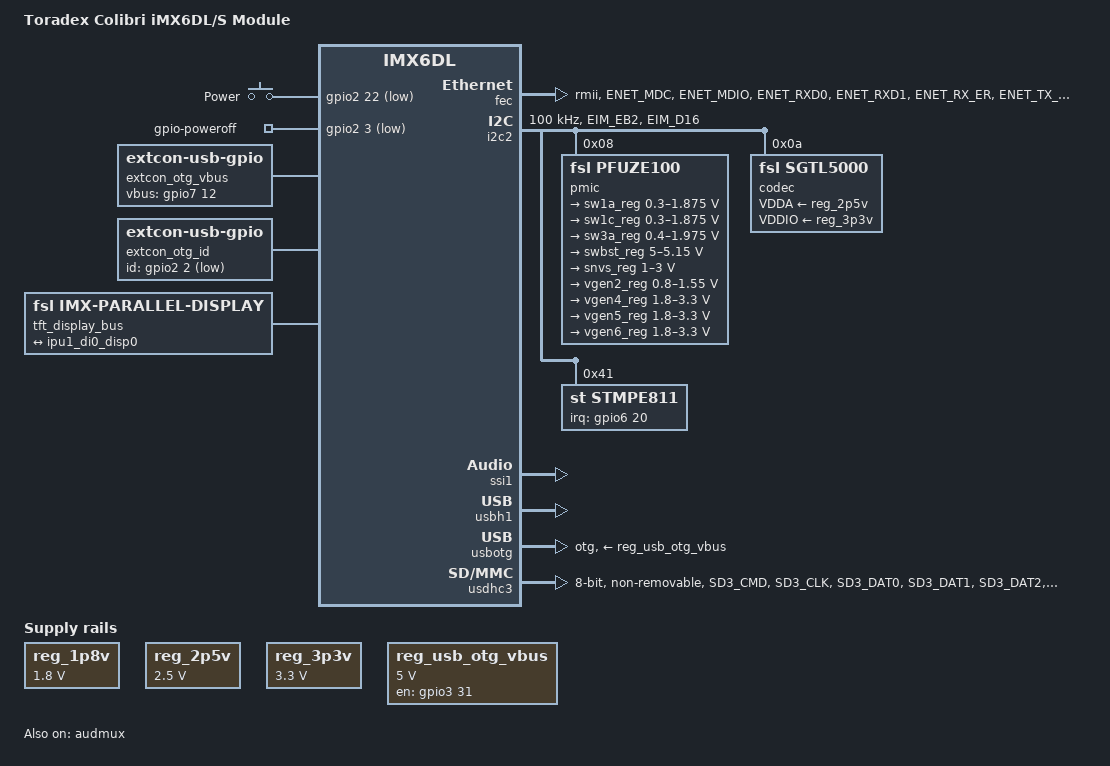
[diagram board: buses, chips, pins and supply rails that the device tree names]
/*
 * Copyright 2017-2019 Radioavionica Corp
 * Copyright 2014-2016 Toradex AG
 * Copyright 2012 Freescale Semiconductor, Inc.
 * Copyright 2011 Linaro Ltd.
 *
 * This file is dual-licensed: you can use it either under the terms
 * of the GPL or the X11 license, at your option. Note that this dual
 * licensing only applies to this file, and not this project as a
 * whole.
 *
 *  a) This file is free software; you can redistribute it and/or
 *     modify it under the terms of the GNU General Public License
 *     version 2 as published by the Free Software Foundation.
 *
 *     This file is distributed in the hope that it will be useful,
 *     but WITHOUT ANY WARRANTY; without even the implied warranty of
 *     MERCHANTABILITY or FITNESS FOR A PARTICULAR PURPOSE.  See the
 *     GNU General Public License for more details.
 *
 * Or, alternatively,
 *
 *  b) Permission is hereby granted, free of charge, to any person
 *     obtaining a copy of this software and associated documentation
 *     files (the "Software"), to deal in the Software without
 *     restriction, including without limitation the rights to use,
 *     copy, modify, merge, publish, distribute, sublicense, and/or
 *     sell copies of the Software, and to permit persons to whom the
 *     Software is furnished to do so, subject to the following
 *     conditions:
 *
 *     The above copyright notice and this permission notice shall be
 *     included in all copies or substantial portions of the Software.
 *
 *     THE SOFTWARE IS PROVIDED "AS IS", WITHOUT WARRANTY OF ANY KIND,
 *     EXPRESS OR IMPLIED, INCLUDING BUT NOT LIMITED TO THE WARRANTIES
 *     OF MERCHANTABILITY, FITNESS FOR A PARTICULAR PURPOSE AND
 *     NONINFRINGEMENT. IN NO EVENT SHALL THE AUTHORS OR COPYRIGHT
 *     HOLDERS BE LIABLE FOR ANY CLAIM, DAMAGES OR OTHER LIABILITY,
 *     WHETHER IN AN ACTION OF CONTRACT, TORT OR OTHERWISE, ARISING
 *     FROM, OUT OF OR IN CONNECTION WITH THE SOFTWARE OR THE USE OR
 *     OTHER DEALINGS IN THE SOFTWARE.
 */

#include <dt-bindings/gpio/gpio.h>

/ {
	model = "Toradex Colibri iMX6DL/S Module";
	compatible = "toradex,colibri_imx6dl", "fsl,imx6dl";

	/*
	 * All ravion board have power key on soDimm pin 45
	 */
	gpio-keys {
		compatible = "gpio-keys";
		pinctrl-names = "default";
		pinctrl-0 = <&pinctrl_gpio_keys>;

		power {
			label = "Power";
			gpios = <&gpio2 22 GPIO_ACTIVE_LOW>; /* SODIMM 45 */
			linux,code = <KEY_POWER>;
			debounce-interval = <100>;
			wakeup-source;
		};
	};

	/*
	 * All ravion board have power-off output on soDimm pin 133
	 */
	gpio-poweroff {
		pinctrl-names = "default";
		pinctrl-0 = <&pinctrl_gpio_poweroff>;
		compatible = "gpio-poweroff";
		gpios = <&gpio2 3 GPIO_ACTIVE_LOW>;	/* SODIMM 133 */
	};

	/*
	 * All ravion board have non-standart USB OTG control pins
	 */

	extcon_otg_vbus: pin_otg_vbus {
		pinctrl-names = "default";
		pinctrl-0 = <&pinctrl_extcon_otg_vbus>;
		compatible = "linux,extcon-usb-gpio";
		vbus-gpio = <&gpio7 12 GPIO_ACTIVE_HIGH>; /* SODIMM 137 */
	};

	extcon_otg_id: pin_otg_id {
		pinctrl-names = "default";
		pinctrl-0 = <&pinctrl_extcon_otg_id>;
		compatible = "linux,extcon-usb-gpio";
		id-gpio = <&gpio2 2 GPIO_ACTIVE_LOW>; /* SODIMM 135 */
	};

	reg_1p8v: regulator-1p8v {
		compatible = "regulator-fixed";
		regulator-name = "1P8V";
		regulator-min-microvolt = <1800000>;
		regulator-max-microvolt = <1800000>;
		regulator-always-on;
	};

	reg_2p5v: regulator-2p5v {
		compatible = "regulator-fixed";
		regulator-name = "2P5V";
		regulator-min-microvolt = <2500000>;
		regulator-max-microvolt = <2500000>;
		regulator-always-on;
	};

	reg_3p3v: regulator-3p3v {
		compatible = "regulator-fixed";
		regulator-name = "3P3V";
		regulator-min-microvolt = <3300000>;
		regulator-max-microvolt = <3300000>;
		regulator-always-on;
	};

	reg_usb_otg_vbus: regulator-usb-otg-vbus {
		compatible = "regulator-fixed";
		pinctrl-names = "default";
		pinctrl-0 = <&pinctrl_regulator_usb_otg_pwr>;
		regulator-name = "usb_otg_vbus";
		regulator-min-microvolt = <5000000>;
		regulator-max-microvolt = <5000000>;
		enable-active-high;
		gpio = <&gpio3 31 0>; /* USBO_PEN : SODIMM 129 */
	};

	tft_display_bus: disp0@di0 {
		compatible = "fsl,imx-parallel-display";
		interface-pix-fmt = "rgb24";
		pinctrl-names = "default";
		pinctrl-0 = <&pinctrl_ipu1_lcdif>;

		port@0 {
			lcd_display_in: endpoint {
				remote-endpoint = <&ipu1_di0_disp0>;
			};
		};

		port@1 {
			tft_display_bus_out: endpoint {
			};
		};
	};

	sound {
		compatible = "fsl,imx-audio-sgtl5000";
		model = "imx6dl-colibri-sgtl5000";
		ssi-controller = <&ssi1>;
		audio-codec = <&codec>;
		audio-routing =
			"Headphone Jack", "HP_OUT",
			"LINE_IN", "Line In Jack",
			"MIC_IN", "Mic Jack",
			"Mic Jack", "Mic Bias";
		mux-int-port = <1>;
		mux-ext-port = <5>;
	};
};

&ipu1_di0_disp0 {
	remote-endpoint = <&lcd_display_in>;
};

&audmux {
	pinctrl-names = "default";
	pinctrl-0 = <&pinctrl_audmux &pinctrl_mic_gnd>;
	status = "okay";
};

/* Colibri SSP */
&ecspi4 {
	cs-gpios = <&gpio5 2 GPIO_ACTIVE_HIGH>;
	pinctrl-names = "default";
	pinctrl-0 = <&pinctrl_ecspi4>;
	status = "disabled";
};

&fec {
	pinctrl-names = "default";
	pinctrl-0 = <&pinctrl_enet>;
	phy-mode = "rmii";
	status = "okay";
};

&hdmi {
	pinctrl-names = "default";
	pinctrl-0 = <&pinctrl_hdmi_ddc>;
	status = "disabled";
};

/*
 * PWR_I2C: power I2C to audio codec, PMIC, temperature sensor and
 * touch screen controller
 */
&i2c2 {
	clock-frequency = <100000>;
	pinctrl-names = "default";
	pinctrl-0 = <&pinctrl_i2c2>;
	status = "okay";

	pmic: pfuze100@08 {
		compatible = "fsl,pfuze100";
		reg = <0x08>;

		regulators {
			sw1a_reg: sw1ab {
				regulator-min-microvolt = <300000>;
				regulator-max-microvolt = <1875000>;
				regulator-boot-on;
				regulator-always-on;
				regulator-ramp-delay = <6250>;
			};

			sw1c_reg: sw1c {
				regulator-min-microvolt = <300000>;
				regulator-max-microvolt = <1875000>;
				regulator-boot-on;
				regulator-always-on;
				regulator-ramp-delay = <6250>;
			};

			sw3a_reg: sw3a {
				regulator-min-microvolt = <400000>;
				regulator-max-microvolt = <1975000>;
				regulator-boot-on;
				regulator-always-on;
			};

			swbst_reg: swbst {
				regulator-min-microvolt = <5000000>;
				regulator-max-microvolt = <5150000>;
				regulator-boot-on;
				regulator-always-on;
			};

			snvs_reg: vsnvs {
				regulator-min-microvolt = <1000000>;
				regulator-max-microvolt = <3000000>;
				regulator-boot-on;
				regulator-always-on;
			};

			vref_reg: vrefddr {
				regulator-boot-on;
				regulator-always-on;
			};

			/* vgen1: unused */

			vgen2_reg: vgen2 {
				regulator-min-microvolt = <800000>;
				regulator-max-microvolt = <1550000>;
				regulator-boot-on;
				regulator-always-on;
			};

			/* vgen3: unused */

			vgen4_reg: vgen4 {
				regulator-min-microvolt = <1800000>;
				regulator-max-microvolt = <3300000>;
				regulator-boot-on;
				regulator-always-on;
			};

			vgen5_reg: vgen5 {
				regulator-min-microvolt = <1800000>;
				regulator-max-microvolt = <3300000>;
				regulator-boot-on;
				regulator-always-on;
			};

			vgen6_reg: vgen6 {
				regulator-min-microvolt = <1800000>;
				regulator-max-microvolt = <3300000>;
				regulator-boot-on;
				regulator-always-on;
			};
		};
	};


	codec: sgtl5000@0a {
		compatible = "fsl,sgtl5000";
		reg = <0x0a>;
		clocks = <&clks IMX6QDL_CLK_CKO>;
		VDDA-supply = <&reg_2p5v>;
		VDDIO-supply = <&reg_3p3v>;
		lrclk-strength = <3>;
	};

	/* STMPE811 touch screen controller */
	stmpe811@41 {
		compatible = "st,stmpe811";
		pinctrl-names = "default";
		pinctrl-0 = <&pinctrl_touch_int>;
		#address-cells = <1>;
		#size-cells = <0>;
		reg = <0x41>;
		interrupts = <20 IRQ_TYPE_LEVEL_LOW>;
		interrupt-parent = <&gpio6>;
		interrupt-controller;
		id = <0>;
		blocks = <0x5>;
		irq-trigger = <0x1>;
		status = "okay";

		stmpe_touchscreen {
			compatible = "st,stmpe-ts";
			reg = <0>;
			/* 3.25 MHz ADC clock speed */
			st,adc-freq = <1>;
			/* 8 sample average control */
			st,ave-ctrl = <3>;
			/* 7 length fractional part in z */
			st,fraction-z = <7>;
			/*
			 * 50 mA typical 80 mA max touchscreen drivers
			 * current limit value
			 */
			st,i-drive = <1>;
			/* 12-bit ADC */
			st,mod-12b = <1>;
			/* internal ADC reference */
			st,ref-sel = <0>;
			/* ADC converstion time: 80 clocks */
			st,sample-time = <4>;
			/* 1 ms panel driver settling time */
			st,settling = <3>;
			/* 5 ms touch detect interrupt delay */
			st,touch-det-delay = <5>;
		};
	};
};



/*
 * I2C3_SDA/SCL on SODIMM 194/196 (e.g. RTC on carrier board)
 */
&i2c3 {
	clock-frequency = <100000>;
	pinctrl-names = "default", "recovery";
	pinctrl-0 = <&pinctrl_i2c3>;
	pinctrl-1 = <&pinctrl_i2c3_recovery>;
	scl-gpios = <&gpio1 3 GPIO_ACTIVE_HIGH>;
	sda-gpios = <&gpio1 6 GPIO_ACTIVE_HIGH>;
	status = "disabled";
};

/* Colibri PWM<B> */
&pwm1 {
	pinctrl-names = "default";
	pinctrl-0 = <&pinctrl_pwm1>;
	status = "disabled";
};

/* Colibri PWM<D> */
&pwm2 {
	pinctrl-names = "default";
	pinctrl-0 = <&pinctrl_pwm2>;
	status = "disabled";
};

/* Colibri PWM<A> */
&pwm3 {
	pinctrl-names = "default";
	pinctrl-0 = <&pinctrl_pwm3>;
	status = "disabled";
};

/* Colibri PWM<C> */
&pwm4 {
	pinctrl-names = "default";
	pinctrl-0 = <&pinctrl_pwm4>;
	status = "disabled";
};

&ssi1 {
	status = "okay";
};

/* Colibri UART_A */
&uart1 {
	pinctrl-names = "default";
	pinctrl-0 = <&pinctrl_uart1_dte &pinctrl_uart1_ctrl>;
	fsl,dte-mode;
	uart-has-rtscts;
	status = "disabled";
};

/* Colibri UART_B */
&uart2 {
	pinctrl-names = "default";
	pinctrl-0 = <&pinctrl_uart2_dte>;
	fsl,dte-mode;
	uart-has-rtscts;
	status = "disabled";
};

/* Colibri UART_C */
&uart3 {
	pinctrl-names = "default";
	pinctrl-0 = <&pinctrl_uart3_dte>;
	fsl,dte-mode;
	status = "disabled";
};

/*
 * USB Host - allways enabled on ravion boaards
 */
&usbh1 {
	disable-over-current;
	status = "okay";
};

/*
 * USB Host/Device switcahble (OTG)
 */
&usbotg {
	vbus-supply = <&reg_usb_otg_vbus>;
	disable-over-current;
	/*
	 * FixMe:
	 * Unstable  working on swith from HOST to DEVICE
	 * May be voltage on VBUS drop to slow???
	 */
	dr_mode = "otg";
	extcon = <&extcon_otg_vbus>,
		 <&extcon_otg_id>;
	status = "okay";
};

/* Colibri MMC */
&usdhc1 {
	pinctrl-names = "default";
	pinctrl-0 = <&pinctrl_usdhc1>;
	vqmmc-supply = <&reg_3p3v>;
	bus-width = <4>;
	voltage-ranges = <3300 3300>;
	status = "disabled";
};

/* eMMC */
&usdhc3 {
	pinctrl-names = "default";
	pinctrl-0 = <&pinctrl_usdhc3>;
	vqmmc-supply = <&reg_3p3v>;
	bus-width = <8>;
	voltage-ranges = <3300 3300>;
	non-removable;
	status = "okay";
};

&iomuxc {
	pinctrl_gpio_poweroff: gpio-poweroff {
		fsl,pins = <MX6QDL_PAD_NANDF_D3__GPIO2_IO03 0x0f058>; /* PU_22K */
	};

	pinctrl_gpio_keys: gpiokeys {
		fsl,pins = <
			/* Power button */
			MX6QDL_PAD_EIM_A16__GPIO2_IO22		0x1b0b0
		>;
	};

	pinctrl_extcon_otg_vbus: gpiootgvbus {
		fsl,pins = <
			MX6QDL_PAD_GPIO_17__GPIO7_IO12	0x1b0b0 /* soDimm 137 */
		>;
	};

	pinctrl_extcon_otg_id: gpiootgid {
		fsl,pins = <
			MX6QDL_PAD_NANDF_D2__GPIO2_IO02	0x1b0b0 /* soDimm 135 */
		>;
	};

	pinctrl_audmux: audmuxgrp {
		fsl,pins = <
			MX6QDL_PAD_KEY_COL0__AUD5_TXC	0x130b0
			MX6QDL_PAD_KEY_ROW0__AUD5_TXD	0x130b0
			MX6QDL_PAD_KEY_COL1__AUD5_TXFS	0x130b0
			MX6QDL_PAD_KEY_ROW1__AUD5_RXD	0x130b0
			/* SGTL5000 sys_mclk */
			MX6QDL_PAD_GPIO_0__CCM_CLKO1	0x000b0
		>;
	};

	pinctrl_cam_mclk: cammclkgrp {
		fsl,pins = <
			/* Parallel Camera CAM sys_mclk */
			MX6QDL_PAD_NANDF_CS2__CCM_CLKO2	0x00b0
		>;
	};

	pinctrl_ecspi4: ecspi4grp {
		fsl,pins = <
			MX6QDL_PAD_EIM_D22__ECSPI4_MISO	0x100b1
			MX6QDL_PAD_EIM_D28__ECSPI4_MOSI	0x100b1
			MX6QDL_PAD_EIM_D21__ECSPI4_SCLK 0x100b1
			/* SPI CS */
			MX6QDL_PAD_EIM_A25__GPIO5_IO02	0x000b1
		>;
	};

	pinctrl_enet: enetgrp {
		fsl,pins = <
			MX6QDL_PAD_ENET_MDC__ENET_MDC		0x1b0b0
			MX6QDL_PAD_ENET_MDIO__ENET_MDIO		0x1b0b0
			MX6QDL_PAD_ENET_RXD0__ENET_RX_DATA0	0x1b0b0
			MX6QDL_PAD_ENET_RXD1__ENET_RX_DATA1	0x1b0b0
			MX6QDL_PAD_ENET_RX_ER__ENET_RX_ER	0x1b0b0
			MX6QDL_PAD_ENET_TX_EN__ENET_TX_EN	0x1b0b0
			MX6QDL_PAD_ENET_TXD0__ENET_TX_DATA0	0x1b0b0
			MX6QDL_PAD_ENET_TXD1__ENET_TX_DATA1	0x1b0b0
			MX6QDL_PAD_ENET_CRS_DV__ENET_RX_EN	0x1b0b0
			MX6QDL_PAD_GPIO_16__ENET_REF_CLK     ((1<<30) | 0x1b0b0)
		>;
	};

	pinctrl_hdmi_ddc: hdmiddcgrp {
		fsl,pins = <
			MX6QDL_PAD_KEY_COL3__HDMI_TX_DDC_SCL 0x4001b8b1
			MX6QDL_PAD_KEY_ROW3__HDMI_TX_DDC_SDA 0x4001b8b1
		>;
	};

	pinctrl_i2c2: i2c2grp {
		fsl,pins = <
			MX6QDL_PAD_EIM_EB2__I2C2_SCL 0x4001b8b1
			MX6QDL_PAD_EIM_D16__I2C2_SDA 0x4001b8b1
		>;
	};

	pinctrl_i2c3: i2c3grp {
		fsl,pins = <
			MX6QDL_PAD_GPIO_3__I2C3_SCL 0x4001b8b1
			MX6QDL_PAD_GPIO_6__I2C3_SDA 0x4001b8b1
		>;
	};

	pinctrl_i2c3_recovery: i2c3recoverygrp {
		fsl,pins = <
			MX6QDL_PAD_GPIO_3__GPIO1_IO03 0x4001b8b1
			MX6QDL_PAD_GPIO_6__GPIO1_IO06 0x4001b8b1
		>;
	};

	pinctrl_ipu1_csi1: ipu1csi1grp { /* Parallel Camera */
		fsl,pins = <
			MX6QDL_PAD_EIM_A17__IPU1_CSI1_DATA12	0xb0b1
			MX6QDL_PAD_EIM_A18__IPU1_CSI1_DATA13	0xb0b1
			MX6QDL_PAD_EIM_A19__IPU1_CSI1_DATA14	0xb0b1
			MX6QDL_PAD_EIM_A20__IPU1_CSI1_DATA15	0xb0b1
			MX6QDL_PAD_EIM_A21__IPU1_CSI1_DATA16	0xb0b1
			MX6QDL_PAD_EIM_A22__IPU1_CSI1_DATA17	0xb0b1
			MX6QDL_PAD_EIM_A23__IPU1_CSI1_DATA18	0xb0b1
			MX6QDL_PAD_EIM_A24__IPU1_CSI1_DATA19	0xb0b1
			MX6QDL_PAD_EIM_D17__IPU1_CSI1_PIXCLK	0xb0b1
			MX6QDL_PAD_EIM_EB3__IPU1_CSI1_HSYNC	0xb0b1
			MX6QDL_PAD_EIM_D29__IPU1_CSI1_VSYNC	0xb0b1
			/* Disable PWM pins on camera interface */
			MX6QDL_PAD_SD4_DAT1__GPIO2_IO09		0x40
			MX6QDL_PAD_GPIO_1__GPIO1_IO01		0x40
		>;
	};

	pinctrl_ipu1_lcdif: ipu1lcdifgrp {
		fsl,pins = <
			MX6QDL_PAD_DI0_DISP_CLK__IPU1_DI0_DISP_CLK	0xa1
			MX6QDL_PAD_DI0_PIN15__IPU1_DI0_PIN15		0xa1
			MX6QDL_PAD_DI0_PIN2__IPU1_DI0_PIN02		0xa1
			MX6QDL_PAD_DI0_PIN3__IPU1_DI0_PIN03		0xa1
			MX6QDL_PAD_DISP0_DAT0__IPU1_DISP0_DATA00	0xa1
			MX6QDL_PAD_DISP0_DAT1__IPU1_DISP0_DATA01	0xa1
			MX6QDL_PAD_DISP0_DAT2__IPU1_DISP0_DATA02	0xa1
			MX6QDL_PAD_DISP0_DAT3__IPU1_DISP0_DATA03	0xa1
			MX6QDL_PAD_DISP0_DAT4__IPU1_DISP0_DATA04	0xa1
			MX6QDL_PAD_DISP0_DAT5__IPU1_DISP0_DATA05	0xa1
			MX6QDL_PAD_DISP0_DAT6__IPU1_DISP0_DATA06	0xa1
			MX6QDL_PAD_DISP0_DAT7__IPU1_DISP0_DATA07	0xa1
			MX6QDL_PAD_DISP0_DAT8__IPU1_DISP0_DATA08	0xa1
			MX6QDL_PAD_DISP0_DAT9__IPU1_DISP0_DATA09	0xa1
			MX6QDL_PAD_DISP0_DAT10__IPU1_DISP0_DATA10	0xa1
			MX6QDL_PAD_DISP0_DAT11__IPU1_DISP0_DATA11	0xa1
			MX6QDL_PAD_DISP0_DAT12__IPU1_DISP0_DATA12	0xa1
			MX6QDL_PAD_DISP0_DAT13__IPU1_DISP0_DATA13	0xa1
			MX6QDL_PAD_DISP0_DAT14__IPU1_DISP0_DATA14	0xa1
			MX6QDL_PAD_DISP0_DAT15__IPU1_DISP0_DATA15	0xa1
			MX6QDL_PAD_DISP0_DAT16__IPU1_DISP0_DATA16	0xa1
			MX6QDL_PAD_DISP0_DAT17__IPU1_DISP0_DATA17	0xa1
			MX6QDL_PAD_DISP0_DAT18__IPU1_DISP0_DATA18	0xa1
			MX6QDL_PAD_DISP0_DAT19__IPU1_DISP0_DATA19	0xa1
			MX6QDL_PAD_DISP0_DAT20__IPU1_DISP0_DATA20	0xa1
			MX6QDL_PAD_DISP0_DAT21__IPU1_DISP0_DATA21	0xa1
			MX6QDL_PAD_DISP0_DAT22__IPU1_DISP0_DATA22	0xa1
			MX6QDL_PAD_DISP0_DAT23__IPU1_DISP0_DATA23	0xa1
		>;
	};

	pinctrl_mic_gnd: gpiomicgnd {
		fsl,pins = <
			/* Controls Mic GND, PU or '1' pull Mic GND to GND */
			MX6QDL_PAD_RGMII_TD1__GPIO6_IO21 0x1b0b0
		>;
	};

	pinctrl_mmc_cd: gpiommccd {
		fsl,pins = <
			MX6QDL_PAD_NANDF_D5__GPIO2_IO05	0x80000000
		>;
	};

	pinctrl_pwm1: pwm1grp {
		fsl,pins = <
			MX6QDL_PAD_GPIO_9__PWM1_OUT	0x1b0b1
		>;
	};

	pinctrl_pwm2: pwm2grp {
		fsl,pins = <
			MX6QDL_PAD_GPIO_1__PWM2_OUT	0x1b0b1
			MX6QDL_PAD_EIM_A21__GPIO2_IO17	0x00040
		>;
	};

	pinctrl_pwm3: pwm3grp {
		fsl,pins = <
			MX6QDL_PAD_SD4_DAT1__PWM3_OUT	0x1b0b1
			MX6QDL_PAD_EIM_A22__GPIO2_IO16	0x00040
		>;
	};

	pinctrl_pwm4: pwm4grp {
		fsl,pins = <
			MX6QDL_PAD_SD4_DAT2__PWM4_OUT	0x1b0b1
		>;
	};

	pinctrl_regulator_usb_otg_pwr: gpioregusbopwrgrp {
		fsl,pins = <
			MX6QDL_PAD_EIM_D31__GPIO3_IO31	0x0f058	/* SODIMM 129 - USBO_PEN */
		>;
	};

	pinctrl_touch_int: gpiotouchintgrp {
		fsl,pins = <
			/* STMPE811 interrupt */
			MX6QDL_PAD_RGMII_TD0__GPIO6_IO20 0x1b0b0
		>;
	};

	pinctrl_uart1_dce: uart1dcegrp {
		fsl,pins = <
			MX6QDL_PAD_CSI0_DAT10__UART1_TX_DATA 0x1b0b1
			MX6QDL_PAD_CSI0_DAT11__UART1_RX_DATA 0x1b0b1
		>;
	};

	/* DTE mode */
	pinctrl_uart1_dte: uart1dtegrp {
		fsl,pins = <
			MX6QDL_PAD_CSI0_DAT10__UART1_RX_DATA 0x1b0b1
			MX6QDL_PAD_CSI0_DAT11__UART1_TX_DATA 0x1b0b1
			MX6QDL_PAD_EIM_D19__UART1_RTS_B	0x1b0b1
			MX6QDL_PAD_EIM_D20__UART1_CTS_B 0x1b0b1
		>;
	};

	/* Additional DTR, DSR, DCD */
	pinctrl_uart1_ctrl: uart1ctrlgrp {
		fsl,pins = <
			MX6QDL_PAD_EIM_D23__UART1_DCD_B 0x1b0b0
			MX6QDL_PAD_EIM_D24__UART1_DTR_B 0x1b0b0
			MX6QDL_PAD_EIM_D25__UART1_DSR_B 0x1b0b0
		>;
	};

	pinctrl_uart2_dte: uart2dtegrp {
		fsl,pins = <
			MX6QDL_PAD_SD4_DAT4__UART2_TX_DATA	0x1b0b1
			MX6QDL_PAD_SD4_DAT7__UART2_RX_DATA	0x1b0b1
			MX6QDL_PAD_SD4_DAT6__UART2_RTS_B	0x1b0b1
			MX6QDL_PAD_SD4_DAT5__UART2_CTS_B	0x1b0b1
		>;
	};

	pinctrl_uart3_dte: uart3dtegrp {
		fsl,pins = <
			MX6QDL_PAD_SD4_CLK__UART3_TX_DATA	0x1b0b1
			MX6QDL_PAD_SD4_CMD__UART3_RX_DATA	0x1b0b1
		>;
	};

	pinctrl_usdhc1: usdhc1grp {
		fsl,pins = <
			MX6QDL_PAD_SD1_CMD__SD1_CMD	0x17071
			MX6QDL_PAD_SD1_CLK__SD1_CLK	0x10071
			MX6QDL_PAD_SD1_DAT0__SD1_DATA0	0x17071
			MX6QDL_PAD_SD1_DAT1__SD1_DATA1	0x17071
			MX6QDL_PAD_SD1_DAT2__SD1_DATA2	0x17071
			MX6QDL_PAD_SD1_DAT3__SD1_DATA3	0x17071
		>;
	};

	pinctrl_usdhc3: usdhc3grp {
		fsl,pins = <
			MX6QDL_PAD_SD3_CMD__SD3_CMD	0x17059
			MX6QDL_PAD_SD3_CLK__SD3_CLK	0x10059
			MX6QDL_PAD_SD3_DAT0__SD3_DATA0	0x17059
			MX6QDL_PAD_SD3_DAT1__SD3_DATA1	0x17059
			MX6QDL_PAD_SD3_DAT2__SD3_DATA2	0x17059
			MX6QDL_PAD_SD3_DAT3__SD3_DATA3	0x17059
			MX6QDL_PAD_SD3_DAT4__SD3_DATA4	0x17059
			MX6QDL_PAD_SD3_DAT5__SD3_DATA5	0x17059
			MX6QDL_PAD_SD3_DAT6__SD3_DATA6	0x17059
			MX6QDL_PAD_SD3_DAT7__SD3_DATA7	0x17059
			/* eMMC reset */
			MX6QDL_PAD_SD3_RST__SD3_RESET	0x17059
		>;
	};

	pinctrl_usdhc3_100mhz: usdhc3100mhzgrp {
		fsl,pins = <
			MX6QDL_PAD_SD3_CMD__SD3_CMD	0x170b9
			MX6QDL_PAD_SD3_CLK__SD3_CLK	0x100b9
			MX6QDL_PAD_SD3_DAT0__SD3_DATA0	0x170b9
			MX6QDL_PAD_SD3_DAT1__SD3_DATA1	0x170b9
			MX6QDL_PAD_SD3_DAT2__SD3_DATA2	0x170b9
			MX6QDL_PAD_SD3_DAT3__SD3_DATA3	0x170b9
			MX6QDL_PAD_SD3_DAT4__SD3_DATA4	0x170b9
			MX6QDL_PAD_SD3_DAT5__SD3_DATA5	0x170b9
			MX6QDL_PAD_SD3_DAT6__SD3_DATA6	0x170b9
			MX6QDL_PAD_SD3_DAT7__SD3_DATA7	0x170b9
			/* eMMC reset */
			MX6QDL_PAD_SD3_RST__SD3_RESET	0x170b9
		>;
	};

	pinctrl_usdhc3_200mhz: usdhc3200mhzgrp {
		fsl,pins = <
			MX6QDL_PAD_SD3_CMD__SD3_CMD	0x170f9
			MX6QDL_PAD_SD3_CLK__SD3_CLK	0x100f9
			MX6QDL_PAD_SD3_DAT0__SD3_DATA0	0x170f9
			MX6QDL_PAD_SD3_DAT1__SD3_DATA1	0x170f9
			MX6QDL_PAD_SD3_DAT2__SD3_DATA2	0x170f9
			MX6QDL_PAD_SD3_DAT3__SD3_DATA3	0x170f9
			MX6QDL_PAD_SD3_DAT4__SD3_DATA4	0x170f9
			MX6QDL_PAD_SD3_DAT5__SD3_DATA5	0x170f9
			MX6QDL_PAD_SD3_DAT6__SD3_DATA6	0x170f9
			MX6QDL_PAD_SD3_DAT7__SD3_DATA7	0x170f9
			/* eMMC reset */
			MX6QDL_PAD_SD3_RST__SD3_RESET	0x170f9
		>;
	};
};
